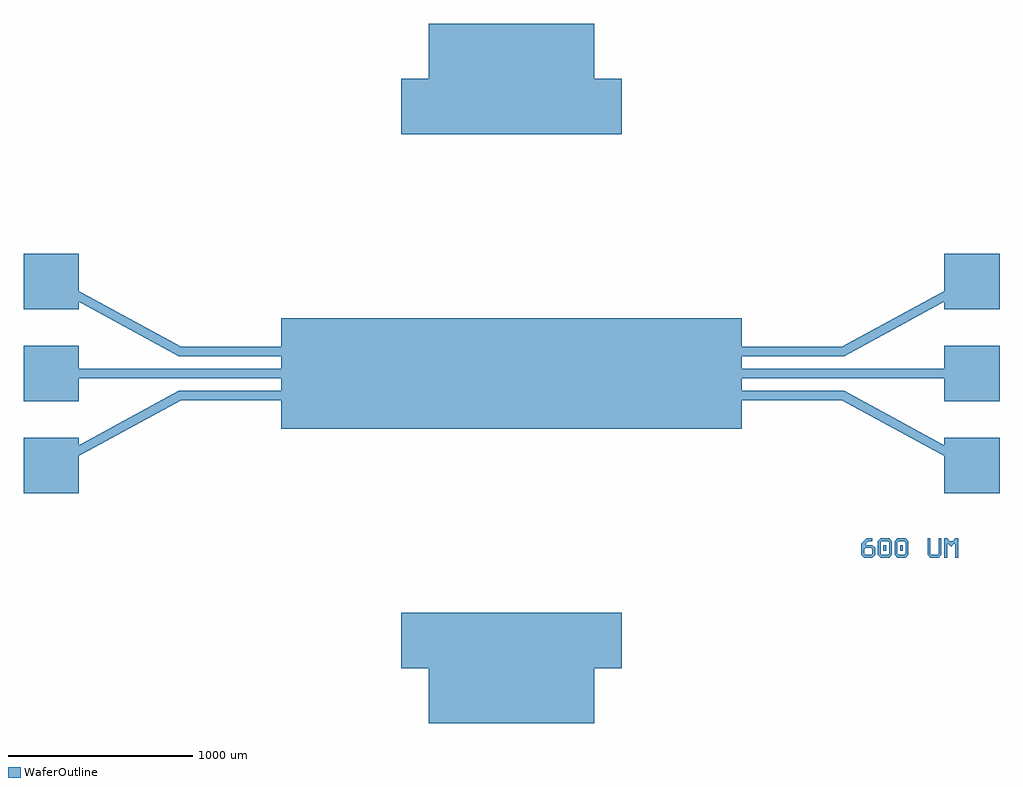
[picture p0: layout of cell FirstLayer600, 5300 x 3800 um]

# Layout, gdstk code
import gdstk
lib = gdstk.Library(unit=1e-6, precision=1e-09)
def R(c, l, rs):  # rectangles x0, y0, x1, y1
    for r in rs: c.add(gdstk.rectangle(r[:2], r[2:], *l))
def P(c, l, *ps):  # polygons
    for p in ps: c.add(gdstk.Polygon(p, *l))
WaferOutline = (1, 0)

c_200umsquare_3 = lib.new_cell('200umSquare$3')
R(c_200umsquare_3, WaferOutline, [(-150,-150,150,150)])

text_5 = lib.new_cell('TEXT$5')
R(text_5, WaferOutline, [(0.8,0.25,0.9,0.45), (1.4,0.25,1.5,0.45)])
P(text_5, WaferOutline, [(0.1,0),(0,0.1),(0,0.5),(0.2,0.7),(0.4,0.7),(0.4,0.6),(0.25,0.6),(0.15,0.5),(0.15,0.45),(0.4,0.45),(0.5,0.35),(0.15,0.35),(0.1,0.3),(0.1,0.15),(0.15,0.1),(0.35,0.1),(0.4,0.15),(0.4,0.3),(0.35,0.35),(0.5,0.35),(0.5,0.1),(0.4,0)],
  [(0.7,0),(0.6,0.1),(0.6,0.6),(0.7,0.7),(1,0.7),(1.1,0.6),(0.75,0.6),(0.7,0.55),(0.7,0.15),(0.75,0.1),(0.95,0.1),(1,0.15),(1,0.55),(0.95,0.6),(1.1,0.6),(1.1,0.1),(1,0)],
  [(1.3,0),(1.2,0.1),(1.2,0.6),(1.3,0.7),(1.6,0.7),(1.7,0.6),(1.35,0.6),(1.3,0.55),(1.3,0.15),(1.35,0.1),(1.55,0.1),(1.6,0.15),(1.6,0.55),(1.55,0.6),(1.7,0.6),(1.7,0.1),(1.6,0)],
  [(2.5,0),(2.4,0.1),(2.4,0.7),(2.5,0.7),(2.5,0.15),(2.55,0.1),(2.75,0.1),(2.8,0.15),(2.8,0.7),(2.9,0.7),(2.9,0.1),(2.8,0)],
  [(3,0),(3,0.7),(3.1,0.7),(3.2,0.6),(3.3,0.6),(3.4,0.7),(3.5,0.7),(3.5,0),(3.4,0),(3.4,0.5),(3.35,0.5),(3.25,0.4),(3.15,0.5),(3.1,0.5),(3.1,0)])

firstlayer600 = lib.new_cell('FirstLayer600')
R(firstlayer600, WaferOutline, [(-1250,-300,1250,300)])
firstlayer600.add(gdstk.FlexPath([(-2500,500),(-1800,120),(1800,120),(2500,500)], 50, ends="flush", simple_path=True, layer=1, datatype=0))  # WaferOutline
firstlayer600.add(gdstk.FlexPath([(-2500,0),(2500,0)], 50, ends="flush", simple_path=True, layer=1, datatype=0))  # WaferOutline
firstlayer600.add(gdstk.FlexPath([(-2500,-500),(-1800,-120),(1800,-120),(2500,-500)], 50, ends="flush", simple_path=True, layer=1, datatype=0))  # WaferOutline
r = gdstk.Reference(c_200umsquare_3, (-2500,-500)); r.repetition = gdstk.Repetition(2, 3, v1=(5000,0), v2=(0,500)); firstlayer600.add(r)
r = gdstk.Reference(c_200umsquare_3, (-300,-1750)); r.repetition = gdstk.Repetition(3, 2, v1=(300,0), v2=(0,3500)); firstlayer600.add(r)
firstlayer600.add(gdstk.Reference(text_5, (1900,-1000), magnification=150))
r = gdstk.Reference(c_200umsquare_3, (-450,-1450)); r.repetition = gdstk.Repetition(4, 2, v1=(300,0), v2=(0,2900)); firstlayer600.add(r)

lib.write_gds('FirstLayer600.gds')
